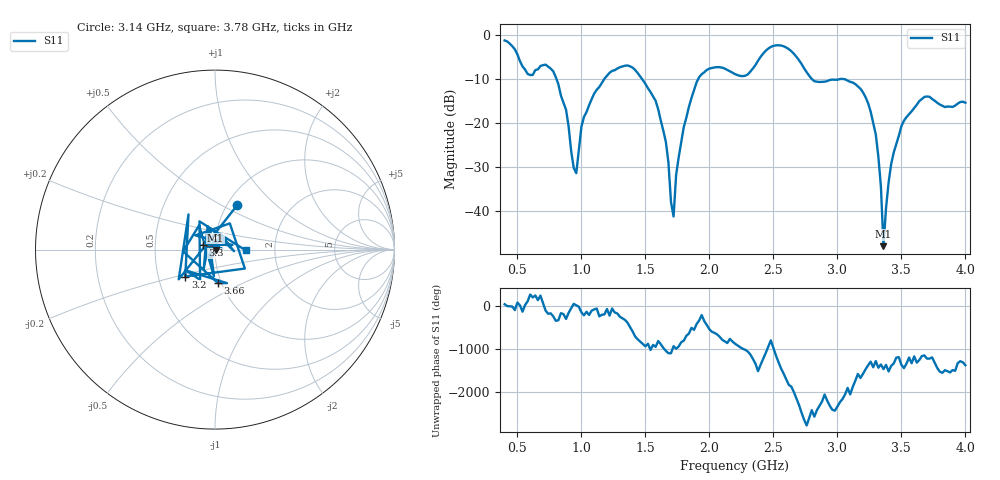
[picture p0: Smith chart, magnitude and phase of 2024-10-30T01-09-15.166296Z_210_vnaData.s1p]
!Created with skrf (http://scikit-rf.org).
# Hz S RI R 50.0
!freq ReS11 ImS11
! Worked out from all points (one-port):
!   181 points, 400 MHz to 4 GHz, reference 50 ohm
!   lowest |S11| = -47.9 dB at 3.36 GHz (marker M1), VSWR 1.01, Z = 50.4 - j0.193 ohm
!   |S11| at or under -10 dB: 805.2 MHz to 1.178 GHz (373.3 MHz wide, 37.6 % of centre); 1.474 GHz to 1.912 GHz (438.4 MHz wide, 25.9 % of centre); 3.047 GHz to end of sweep (the widest 3 of 4)
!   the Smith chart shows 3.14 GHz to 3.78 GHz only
!   S11 on the Smith chart (normalised r, x): 3.14 GHz: 1.11, +0.60; 3.2 GHz: 0.69, -0.22; 3.3 GHz: 0.87, +0.05; 3.66 GHz: 0.96, -0.37; 3.78 GHz: 1.41, -0.01
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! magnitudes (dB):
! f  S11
! 400 MHz  -1.2
! 580 MHz  -8.8
! 780 MHz  -8.2
! 860 MHz  -15.4
! 960 MHz  -31.4
! 1.02 GHz  -18.6
! 1.3 GHz  -7.3
! 1.58 GHz  -14.9
! 1.66 GHz  -24.3
! 1.72 GHz  -41.2
! 1.74 GHz  -31.8
! 1.76 GHz  -27.7
! 1.92 GHz  -9.6
! 2.2 GHz  -8.9
! 2.5 GHz  -2.5
! 2.66 GHz  -4.3
! 2.82 GHz  -10.5
! 3.1 GHz  -10.6
! 3.14 GHz  -11.1
! 3.2 GHz  -13.0
! 3.3 GHz  -22.6
! 3.34 GHz  -34.4
! 3.36 GHz  -47.9
! 3.42 GHz  -29.3
! 3.56 GHz  -18.0
! 3.66 GHz  -14.5
! 3.78 GHz  -15.4
! 4 GHz  -15.4
